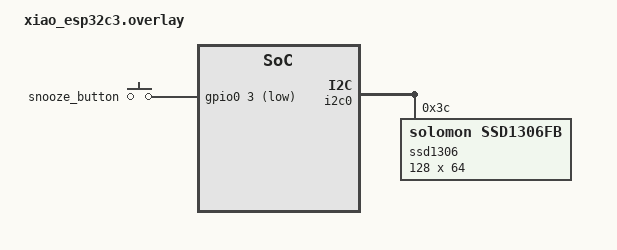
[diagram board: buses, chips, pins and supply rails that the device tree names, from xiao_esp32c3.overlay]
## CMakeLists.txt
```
cmake_minimum_required(VERSION 3.22)
set(BOARD xiao_esp32c3)

find_package(Zephyr)
project(alarmclock)

target_sources(app PRIVATE src/main.c src/oled.c src/time.c src/state_machine.c)
```

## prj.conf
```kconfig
CONFIG_I2C=y
CONFIG_DISPLAY=y
CONFIG_SSD1306=y
CONFIG_SSD1306_DEFAULT=y
CONFIG_SSD1306_DEFAULT_CONTRAST=128
CONFIG_LOG=y
CONFIG_CHARACTER_FRAMEBUFFER=y
```

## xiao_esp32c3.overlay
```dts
&i2c0 {
    ssd1306: ssd1306@3c {
        compatible = "solomon,ssd1306fb";
        reg = <0x3C>;
        height = <64>;
        width = <128>;
        segment-offset = <0>;
        page-offset = <0>;
        display-offset = <0>;
        multiplex-ratio = <63>;
        prechargep = <0x22>;
        com-invdir;
        segment-remap;
    };
};

/{
    buttons {
    compatible = "gpio-keys";
    snooze_button: snooze_button {
        gpios = <&gpio0 3 GPIO_ACTIVE_LOW>;
        };
    };
};
```

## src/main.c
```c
#define DEBUG 1

#include "main.h"

#define MILLIS_PER_SECOND 100 // for testing purposes
#define DEBOUNCE_DELAY_MS 500

// get the OLED controller Device tree struct from our custom overlay file
const struct device *display = DEVICE_DT_GET(DT_NODELABEL(ssd1306));

// get the OLED controller Device tree struct from our custom overlay file
const struct gpio_dt_spec snooze_button = GPIO_DT_SPEC_GET(DT_NODELABEL(snooze_button), gpios);
static struct gpio_callback snooze_cb_data;

static alarm_t alarm;

LOG_MODULE_REGISTER(display);

void main(void)
{
	int ret;
	ret = init_devices();
	if (ret != 0) {
		LOG_ERR("could not initialize devices");
		return;
	}

	state_table_init(&alarm);
	alarm_init(&alarm);

	uint32_t last_tick = k_uptime_get_32();

	user_event_t ue;
	tick_event_t te;
	while (1)
	{
#if DEBUG
		if (k_uptime_get_32() - last_tick >= MILLIS_PER_SECOND) {
			// 100ms has passed; millis_per_second for testing quickly
			last_tick = k_uptime_get_32();
			te.super.sig = TIME_TICK;
			if (++te.ss > 10) {
				te.ss = 1;
			}
			event_dispatcher(&alarm, &te.super);
		}
#endif
	}
}

uint32_t currentMillis = 0;
uint32_t previousMillis = 0;
void hit_snooze(const struct device *dev, struct gpio_callback *cb, uint32_t pins)
{
    currentMillis = k_uptime_get_32();
    if((currentMillis - previousMillis > DEBOUNCE_DELAY_MS))
    {
		user_event_t ue;
		tick_event_t te;
		te.super.sig = SNOOZE;
        previousMillis = currentMillis;
		event_dispatcher(&alarm, &te.super);
    }
}

static int init_devices()
{
	int ret;
	if(!device_is_ready(snooze_button.port)) return -1;

	ret = gpio_pin_configure_dt(&snooze_button, GPIO_INPUT);
	if (ret < 0) {
		printk("Error configuring snooze pin!\n");
		return -1;
	}

	ret = gpio_pin_interrupt_configure_dt(&snooze_button, GPIO_INT_EDGE_TO_ACTIVE);
	if (ret < 0) {
		printk("Error configuring Interrupt!\n");
		return -1;
	}

	gpio_init_callback(&snooze_cb_data, hit_snooze, BIT(snooze_button.pin));
	gpio_add_callback(snooze_button.port, &snooze_cb_data);

	if (display == NULL) {
		LOG_ERR("device pointer of display is NULL");
		return -1;
	}

	if (!device_is_ready(display)) {
		LOG_ERR("display device is not ready");
		return -1;
	}

	ret = cfb_framebuffer_init(display);
	if (ret != 0) {
		LOG_ERR("could not initialize display");
		return ret;
	}

	return 0;
}

static void state_table_init(alarm_t *const mobj)
{
	static e_handler_t state_table[MAX_STATES][MAX_SIGNALS] = {
		[IDLE] = {NULL, IDLE_TIME_TICK, IDLE_ENTRY, IDLE_EXIT},
		[ALARM] = {ALARM_SNOOZE, NULL, ALARM_ENTRY, ALARM_EXIT},
	};

	mobj->state_table = (uintptr_t *)&state_table[0][0];
}

static void event_dispatcher(alarm_t *const mobj, event_t const *const e)
{
	event_status_t status;
	state_t source, target;
	e_handler_t ehandler;

	source = mobj->active_state;
	ehandler = (e_handler_t)mobj->state_table[mobj->active_state * MAX_SIGNALS + e->sig];
	if (ehandler) {
		status = (*ehandler)(mobj, e);
	}

	printk("Next handler set\n");

	if (status == EVENT_TRANSITION) {
		target = mobj->active_state;
		event_t ee;
		// 1. run the exit action for the source state
		ee.sig = EXIT;
		ehandler = (e_handler_t)mobj->state_table[source * MAX_SIGNALS + EXIT];
		if (ehandler) {
			(*ehandler)(mobj, &ee);
		}

		// 2. run the entry action for the target state
		ee.sig = ENTRY;
		ehandler = (e_handler_t)mobj->state_table[target * MAX_SIGNALS + ENTRY];
		if (ehandler) {
			(*ehandler)(mobj, &ee);
		}
	}
}
```

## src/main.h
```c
#include <stdio.h>
#include <zephyr/kernel.h>
#include <zephyr/device.h>
#include <zephyr/logging/log.h>
#include <zephyr/drivers/display.h>
#include <zephyr/drivers/gpio.h>
#include <zephyr/drivers/rtc.h>
#include <zephyr/display/cfb.h>
#include "oled.h"
#include "state_machine.h"

///////////////////////////// VARIABLES /////////////////////////


///////////////////////////// VARIABLES /////////////////////////

///////////////////////////// FUNCTIONS /////////////////////////

static int init_devices();
static void event_dispatcher(alarm_t *const mobj, event_t const *const e);
static void state_table_init(alarm_t *const mobj);

///////////////////////////// FUNCTIONS /////////////////////////
```

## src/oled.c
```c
#include "oled.h"
#include <zephyr/logging/log.h>
#include <zephyr/display/cfb.h>
#include <zephyr/kernel.h>

LOG_MODULE_DECLARE(display);

#define CLEAR_DISPLAY 1
#define OLED_DEBUG 0

int print_message(char *str, int x, int y)
{
    printk(str);
#if OLED_DEBUG
	int ret;
	ret = cfb_print(display, str, 0, 0);
	if (ret != 0) {
		LOG_ERR("Could not print to display\n");
		return ret;
	}

//	ret = cfb_invert_area(display, 0, 0, 128, 64);
//	if (ret != 0) {
//		LOG_ERR("Could not print to display\n");
//		return ret;
//	}

	ret = cfb_framebuffer_finalize(display);
	if (ret != 0) {
		LOG_ERR("Could not finalize to display\n");
		return ret;
	}

	return 0;
#endif
}

int display_clear(void)
{
#if OLED_DEBUG
    int ret;
    ret = cfb_framebuffer_clear(display, CLEAR_DISPLAY);
    if(ret!=0)
    {
        LOG_ERR("Could not clear display\n");
        return ret;
    }
    return 0;
#endif
}
```

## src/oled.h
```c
#include <zephyr/kernel.h>
#include <zephyr/device.h>

extern const struct device *display;
///////////////////////////// VARIABLES /////////////////////////



///////////////////////////// VARIABLES /////////////////////////


///////////////////////////// FUNCTIONS /////////////////////////

int print_message(char *str, int x, int y);
int display_clear();

///////////////////////////// FUNCTIONS /////////////////////////
```

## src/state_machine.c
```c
#include "state_machine.h"
#include <zephyr/kernel.h>

#define ZERO_TIME {0, 0, 0}
#define ALARM_TIME {0, 45, 1}

void alarm_init(alarm_t *mobj){
    event_t ee;
    e_handler_t ehandler;
    ee.sig = ENTRY;
    mobj->active_state = IDLE;

    time_t zero_time = {.second=0, .minute=0, .hour=0};
    time_t alarm_time = {.second=0, .minute=1, .hour=0};
    mobj->curr_time = zero_time;
    mobj->remaining_time = alarm_time; 
    ehandler = (e_handler_t) mobj->state_table[IDLE * MAX_SIGNALS + ENTRY];
    (*ehandler)(mobj,&ee);
}

event_status_t IDLE_ENTRY(alarm_t *const mobj, event_t const *const e)     
{
    printk("IDLE_ENTRY");
    display_time(&mobj->curr_time, 0, 0);
    //print_message("Next alarm in: ", 0, 21);
    //display_time(&mobj->remaining_time, 0, 42);
    return EVENT_HANDLED;
}

event_status_t IDLE_EXIT(alarm_t *const mobj, event_t const *const e)
{
    printk("IDLE_EXIT\n");
    display_clear();
    return EVENT_HANDLED;
}

event_status_t IDLE_TIME_TICK(alarm_t *const mobj, event_t const *const e)
{
    printk("IDLE_TIME_TICK\n");
    if( ((tick_event_t *)(e))->ss == 10){
        increase_time(&mobj->curr_time);
        decrease_time(&mobj->remaining_time);
        if(is_zero(&mobj->remaining_time))
        {
            mobj->active_state = ALARM;
            return EVENT_TRANSITION;
        }
        display_time(&mobj->curr_time, 0, 0);
       // print_message("Next alarm in: ", 0, 21);
       // display_time(&mobj->remaining_time, 0, 42);
        return EVENT_HANDLED;
    }
    return EVENT_IGNORED;
}

event_status_t ALARM_ENTRY(alarm_t *const mobj, event_t const *const e)
{
    printk("ALARM_ENTRY\n");
    display_time(&mobj->curr_time, 0, 32);
    return EVENT_HANDLED;
}  

event_status_t ALARM_EXIT(alarm_t *const mobj, event_t const *const e)
{
    printk("ALARM_EXIT\n");
    display_clear();
    return EVENT_HANDLED;
}

event_status_t ALARM_SNOOZE(alarm_t *const mobj, event_t const *const e) 
{
    printk("ALARM_SNOOZE\n");
    mobj->active_state = IDLE;
    return EVENT_TRANSITION;
}
```

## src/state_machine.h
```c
#include "stdint.h"
#include "time.h"

#define MAX_STATES 2

/* Signal type */
typedef enum {
	SNOOZE,
	TIME_TICK,
	/* Internal activity signals */
	ENTRY,
	EXIT,
	MAX_SIGNALS
} signal_t;

/* State type */
typedef enum {
	IDLE,
	ALARM,
} state_t;

/*Generic(Super) event structure */
typedef struct {
	uint8_t sig;
} event_t;

/* For user generated events */
typedef struct {
	event_t super;
} user_event_t;

/* For tick event */
typedef struct {
	event_t super;
	uint8_t ss;
} tick_event_t;

/* Event status type */
typedef enum {
	EVENT_HANDLED,
	EVENT_IGNORED,
	EVENT_TRANSITION
} event_status_t;

/* Main application structure */
typedef struct {
	time_t curr_time;
	time_t remaining_time;
	state_t active_state;
	uintptr_t *state_table;
} alarm_t;

/* Alarm init */
void alarm_init(alarm_t *mobj);

/* Event handler type */
typedef event_status_t (*e_handler_t)(alarm_t *const mobj, event_t const *const e);

//////////////////////////// EVENT HANDLERS ///////////////////////////////

void alarm_init(alarm_t *mobj);

/* Event handlers for IDLE State*/

event_status_t IDLE_ENTRY(alarm_t *const mobj, event_t const *const e);     // ENTRY handler
event_status_t IDLE_EXIT(alarm_t *const mobj, event_t const *const e);      // EXIT handler
event_status_t IDLE_TIME_TICK(alarm_t *const mobj, event_t const *const e); // TIME_TICK handler

/* Event handlers for ALARM State*/

event_status_t ALARM_ENTRY(alarm_t *const mobj, event_t const *const e);  // ENTRY handler
event_status_t ALARM_EXIT(alarm_t *const mobj, event_t const *const e);   // EXIT handler
event_status_t ALARM_SNOOZE(alarm_t *const mobj, event_t const *const e); // TIME_TICK handler

//////////////////////////// EVENT HANDLERS ///////////////////////////////
```

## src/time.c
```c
#include "time.h"
#include <stdlib.h>
#include <stdio.h> 

/* This function increases the clock timer */
void increase_time(time_t *time)
{
	time->second++;
	if (time->second == 60) {
		time->minute++;
		time->second = 0;
		if (time->minute == 60) {
			time->hour++;
			time->minute = 0;
			if (time->hour == 24) {
				time->hour = 0;
			}
		}
	}
}

/* This function decreases the alarm timer */
void decrease_time(time_t *time)
{
	if ((time->hour == 0) && (time->minute == 0) && (time->second == 0)) {
		return;
	}

	if (time->second == 0) {
		time->second = 59;
		if (time->minute == 0) {
			time->minute = 59;
			if (time->hour != 0) {
				time->hour--;
			}
		} else {
			time->minute--;
		}
	} else {
		time->second--;
	}
}

void display_time(time_t *time, int x, int y)
{
    static char msg_buf[15];
    sprintf(msg_buf, "%02d:%02d:%02d", time->hour, time->minute, time->second);
    print_message(msg_buf, x, y);
}

int is_zero(time_t *time)
{
    if((time->second==0) && (time->minute==0) && (time->hour==0))
        return 1;
} 
```

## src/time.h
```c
#include <stdint.h>
#include "oled.h"

typedef struct {
    uint8_t second;
    uint8_t minute;
    uint8_t hour;
} time_t;

void increase_time(time_t *time);
void decrease_time(time_t *time);
void display_time(time_t *time, int x, int y);
int is_zero(time_t *time);
```
